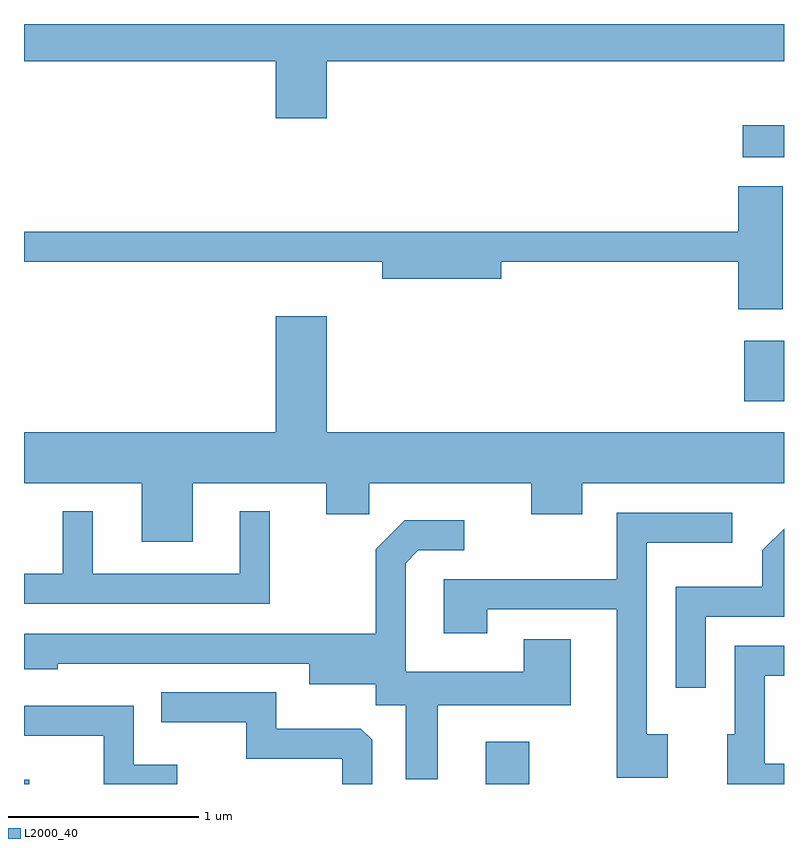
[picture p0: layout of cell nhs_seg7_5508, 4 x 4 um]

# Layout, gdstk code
import gdstk
lib = gdstk.Library(unit=1e-6, precision=1e-09)
def R(c, l, rs):  # rectangles x0, y0, x1, y1
    for r in rs: c.add(gdstk.rectangle(r[:2], r[2:], *l))
def P(c, l, *ps):  # polygons
    for p in ps: c.add(gdstk.Polygon(p, *l))
L2000_40 = (2000, 40)

nhs_seg7_5508 = lib.new_cell('nhs_seg7_5508')
R(nhs_seg7_5508, L2000_40, [(353.611,1748.252,353.639,1748.274), (356.041,1748.252,356.269,1748.474), (357.401,1750.266,357.611,1750.584), (357.393,1751.551,357.611,1751.719)])
P(nhs_seg7_5508, L2000_40, [(355.204,1752.056),(357.611,1752.056),(357.611,1752.252),(353.611,1752.252),(353.611,1752.056),(354.936,1752.056),(354.936,1751.756),(355.204,1751.756)],
  [(357.604,1751.399),(357.371,1751.399),(357.371,1751.159),(353.611,1751.159),(353.611,1751.001),(355.496,1751.001),(355.496,1750.911),(356.124,1750.911),(356.124,1751.001),(357.371,1751.001),(357.371,1750.751),(357.604,1750.751)],
  [(354.499,1749.836),(355.201,1749.836),(355.201,1749.671),(355.429,1749.671),(355.429,1749.836),(356.281,1749.836),(356.281,1749.671),(356.549,1749.671),(356.549,1749.836),(357.611,1749.836),(357.611,1750.104),(355.204,1750.104),(355.204,1750.714),(354.936,1750.714),(354.936,1750.104),(353.611,1750.104),(353.611,1749.836),(354.231,1749.836),(354.231,1749.526),(354.499,1749.526)],
  [(354.904,1749.688),(354.746,1749.688),(354.746,1749.359),(353.974,1749.359),(353.974,1749.688),(353.816,1749.688),(353.816,1749.359),(353.611,1749.359),(353.611,1749.201),(354.904,1749.201)],
  [(356.999,1748.514),(356.889,1748.514),(356.889,1749.521),(357.338,1749.521),(357.338,1749.679),(356.731,1749.679),(356.731,1749.329),(355.821,1749.329),(355.821,1749.046),(356.049,1749.046),(356.049,1749.171),(356.731,1749.171),(356.731,1748.286),(356.999,1748.286)],
  [(355.789,1748.666),(356.489,1748.666),(356.489,1749.014),(356.241,1749.014),(356.241,1748.844),(355.619,1748.844),(355.619,1749.414),(355.687,1749.481),(355.928,1749.481),(355.928,1749.639),(355.614,1749.639),(355.461,1749.487),(355.461,1749.044),(353.611,1749.044),(353.611,1748.856),(353.789,1748.856),(353.789,1748.886),(355.111,1748.886),(355.111,1748.776),(355.461,1748.776),(355.461,1748.666),(355.621,1748.666),(355.621,1748.278),(355.789,1748.278)],
  [(357.199,1749.131),(357.611,1749.131),(357.611,1749.596),(357.496,1749.482),(357.496,1749.289),(357.041,1749.289),(357.041,1748.758),(357.199,1748.758)],
  [(357.611,1748.359),(357.509,1748.359),(357.509,1748.821),(357.611,1748.821),(357.611,1748.979),(357.351,1748.979),(357.351,1748.514),(357.311,1748.514),(357.311,1748.252),(357.611,1748.252)],
  [(355.444,1748.484),(355.384,1748.544),(354.939,1748.544),(354.939,1748.734),(354.333,1748.734),(354.333,1748.576),(354.781,1748.576),(354.781,1748.386),(355.286,1748.386),(355.286,1748.252),(355.444,1748.252)],
  [(354.418,1748.354),(354.189,1748.354),(354.189,1748.664),(353.611,1748.664),(353.611,1748.506),(354.031,1748.506),(354.031,1748.252),(354.418,1748.252)])

lib.write_gds('nhs_seg7_5508.gds')
